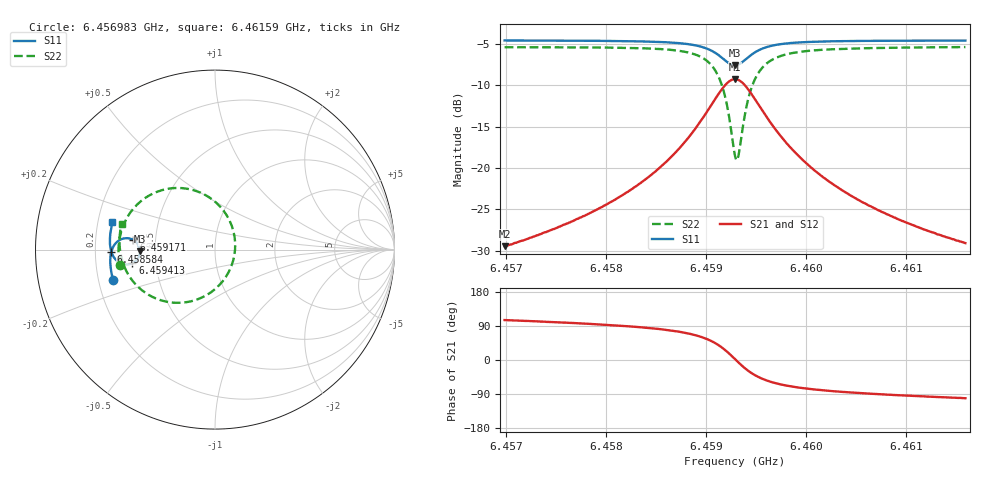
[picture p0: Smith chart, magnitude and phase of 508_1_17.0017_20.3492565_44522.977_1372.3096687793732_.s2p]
#  HZ  S  RI  R  50.00
! Rohde & Schwarz Vector Network Analyzer
! Rohde-Schwarz,ZNB20-2Port,1311601062101988,3.16
! Created: UTC 3/20/2024, 11:14:52 PM
! freq[Hz]  re:S11  im:S11  re:S21  im:S21  re:S12  im:S12  re:S22  im:S22
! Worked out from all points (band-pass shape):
!   401 points, 6.456983 GHz to 6.46159 GHz, reference 50 ohm
!   highest |S21| = -9.24 dB at 6.459286 GHz (marker M1); lowest = -29.5 dB at 6.456983 GHz (marker M2)
!   |S21| within 3 dB of the highest: 6.459056 GHz to 6.459517 GHz (460.7 kHz wide, 0.00713 % of centre)
!   lowest |S11| = -7.6 dB at 6.459286 GHz (marker M3), VSWR 2.44, Z = 20.5 - j0.483 ohm
!   |S11| at or under -10 dB: nowhere
!   |S22| runs from -19.0 to -5.4 dB; largest |S21 - S12| = 0.014
!   S11 on the Smith chart (normalised r, x): 6.456983 GHz: 0.26, -0.14; 6.458584 GHz: 0.27, -0.01; 6.459171 GHz: 0.37, +0.05; 6.459413 GHz: 0.37, -0.07; 6.46159 GHz: 0.26, +0.12
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6.4569827e9  -0.5668 -0.1717  -0.00893 0.0325  -0.00718 0.0324  -0.532 -0.0844
6.4577544e9  -0.5808 -0.1043  -0.00556 0.0503  -0.00304 0.0496  -0.5374 0.00578
6.458169e9  -0.5837 -0.0629  7.18e-05 0.0691  0.00339 0.0677  -0.5297 0.071
6.4585261e9  -0.5799 -0.0204  0.0142 0.0986  0.0183 0.0959  -0.5038 0.1508
6.4585837e9  -0.578 -0.0124  0.0186 0.1055  0.0226 0.1024  -0.4956 0.1676
6.458791e9  -0.565 0.0197  0.0462 0.1379  0.0502 0.1328  -0.4442 0.2403
6.4589407e9  -0.5424 0.0459  0.0913 0.1683  0.0945 0.1615  -0.3608 0.3046
6.4590789e9  -0.4985 0.0633  0.1783 0.1848  0.1793 0.1773  -0.2015 0.3435
6.4591711e9  -0.4542 0.0532  0.2682 0.1535  0.2684 0.1477  -0.0352 0.2932
6.4592402e9  -0.4252 0.0214  0.3284 0.0818  0.3306 0.0763  0.0801 0.1636
6.4592862e9  -0.4183 -0.00973  0.3449 0.014  0.3485 0.00686  0.1124 0.0368
6.4592978e9  -0.4188 -0.0178  0.3446 -0.00374  0.3485 -0.0115  0.112 0.00328
6.4593208e9  -0.4223 -0.0333  0.3391 -0.0385  0.343 -0.0475  0.101 -0.0625
6.4593669e9  -0.4379 -0.0593  0.3105 -0.0983  0.3128 -0.1102  0.0433 -0.1757
6.4594129e9  -0.4599 -0.0755  0.2686 -0.1394  0.2676 -0.1525  -0.0419 -0.2504
6.4595051e9  -0.5032 -0.0824  0.1838 -0.1703  0.1776 -0.182  -0.2107 -0.2963
6.4596548e9  -0.5469 -0.0618  0.0958 -0.1565  0.0876 -0.1626  -0.3781 -0.247
6.459816e9  -0.5685 -0.0342  0.0514 -0.1287  0.0436 -0.1314  -0.4584 -0.175
6.4600579e9  -0.5811 0.00142  0.0221 -0.0972  0.0163 -0.0977  -0.5064 -0.0925
6.4604034e9  -0.5856 0.0425  0.0063 -0.0703  0.00212 -0.0698  -0.5279 -0.0133
6.4608296e9  -0.5836 0.0853  -0.00159 -0.0518  -0.0043 -0.0509  -0.5319 0.0549
6.4615898e9  -0.5712 0.1525  -0.00662 -0.0345  -0.00821 -0.0336  -0.5203 0.1447
